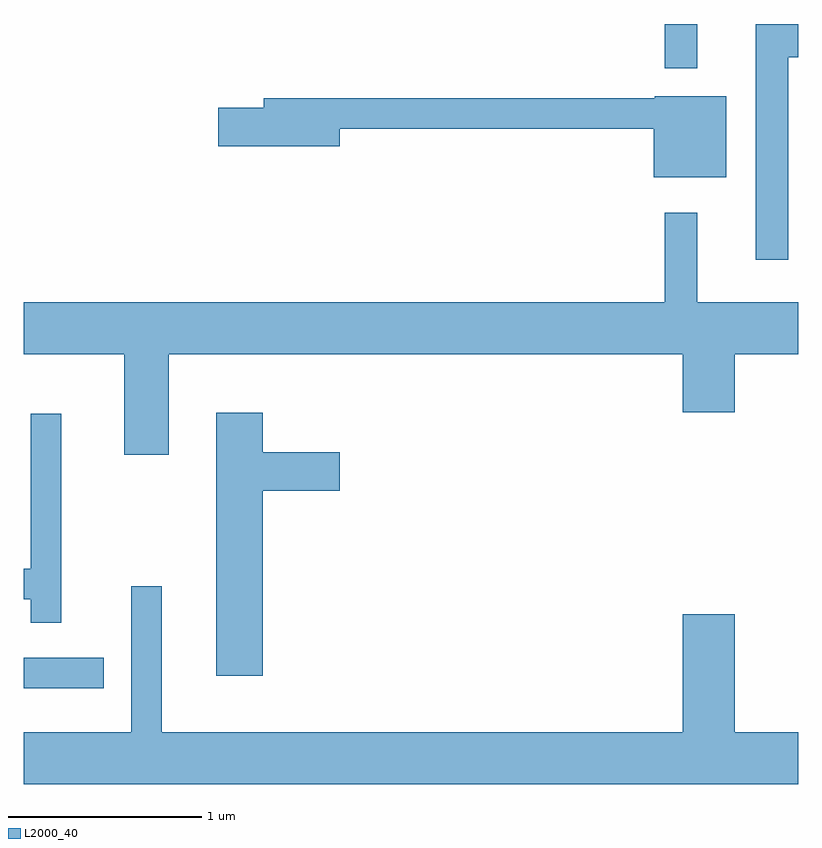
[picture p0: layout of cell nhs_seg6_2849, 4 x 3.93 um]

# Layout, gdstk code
import gdstk
lib = gdstk.Library(unit=1e-6, precision=1e-09)
def R(c, l, rs):  # rectangles x0, y0, x1, y1
    for r in rs: c.add(gdstk.rectangle(r[:2], r[2:], *l))
def P(c, l, *ps):  # polygons
    for p in ps: c.add(gdstk.Polygon(p, *l))
L2000_40 = (2000, 40)

nhs_seg6_2849 = lib.new_cell('nhs_seg6_2849')
R(nhs_seg6_2849, L2000_40, [(271.611,1572.731,272.023,1572.889), (274.921,1575.933,275.089,1576.162)])
P(nhs_seg6_2849, L2000_40, [(275.559,1575.991),(275.611,1575.991),(275.611,1576.162),(275.391,1576.162),(275.391,1574.943),(275.559,1574.943)],
  [(275.239,1575.789),(274.87,1575.789),(274.87,1575.779),(272.851,1575.779),(272.851,1575.729),(272.616,1575.729),(272.616,1575.531),(273.244,1575.531),(273.244,1575.621),(274.866,1575.621),(274.866,1575.371),(275.239,1575.371)],
  [(272.359,1574.456),(275.016,1574.456),(275.016,1574.156),(275.284,1574.156),(275.284,1574.456),(275.611,1574.456),(275.611,1574.724),(275.089,1574.724),(275.089,1575.188),(274.921,1575.188),(274.921,1574.724),(271.611,1574.724),(271.611,1574.456),(272.131,1574.456),(272.131,1573.936),(272.359,1573.936)],
  [(272.844,1573.751),(273.244,1573.751),(273.244,1573.949),(272.844,1573.949),(272.844,1574.154),(272.606,1574.154),(272.606,1572.796),(272.844,1572.796)],
  [(271.804,1574.148),(271.646,1574.148),(271.646,1573.349),(271.611,1573.349),(271.611,1573.191),(271.646,1573.191),(271.646,1573.068),(271.804,1573.068)],
  [(275.611,1572.504),(275.284,1572.504),(275.284,1573.114),(275.016,1573.114),(275.016,1572.504),(272.324,1572.504),(272.324,1573.258),(272.166,1573.258),(272.166,1572.504),(271.611,1572.504),(271.611,1572.236),(275.611,1572.236)])

lib.write_gds('nhs_seg6_2849.gds')
